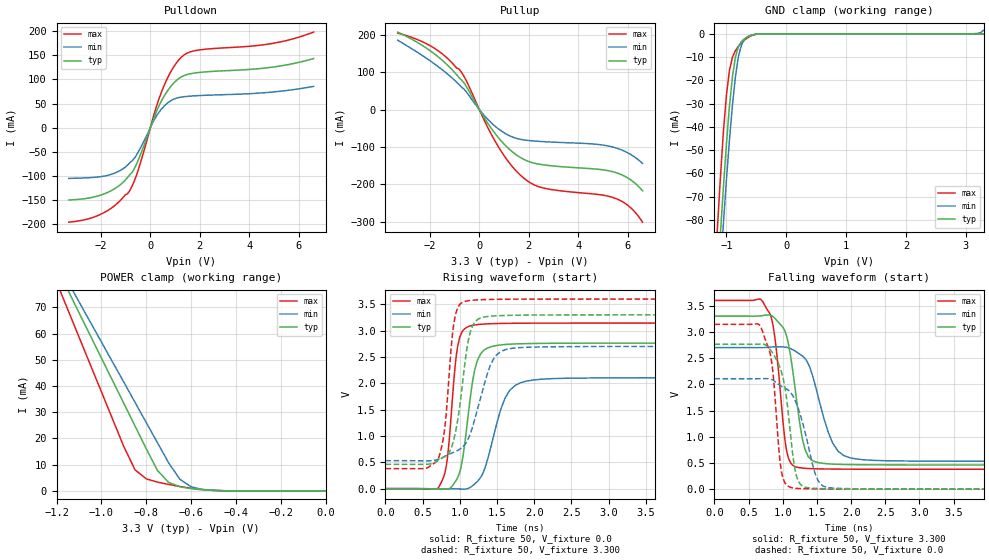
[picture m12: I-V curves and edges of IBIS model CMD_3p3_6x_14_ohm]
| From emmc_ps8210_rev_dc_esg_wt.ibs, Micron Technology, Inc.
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|   Model CMD_3p3_6x_14_ohm
[Model]   CMD_3p3_6x_14_ohm
Model_type   I/O
Vinl   = 1.10V
Vinh   = 1.85V
Vmeas  = 1.65V
|   typ   min   max
C_comp   6.990pF   6.500pF   7.430pF
[Voltage Range]   3.300V   2.700V   3.600V
| Junction Temperature (Ambient temp is 35C typ, 85C min, -25C max)
[Temperature Range]   50.0   100.0   -25.0
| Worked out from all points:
|   slope of the pulldown table from 0 to 0.495 V, typ, clamps not added: 8.27 ohm
|   slope of the pullup table from 0 to 0.495 V, typ, clamps not added: 9.64 ohm
|   GND clamp passes 1 mA (typ) near -0.62 V on its own axis
|   POWER clamp passes 1 mA (typ) near -0.61 V on its own axis
|   rising waveform, R_fixture 50, V_fixture 0.0: 20-80 % time 159ps typ, 254ps min, 115ps max; typ from 0 V to 2.76 V
|   falling waveform, R_fixture 50, V_fixture 3.300: 20-80 % time 189ps typ, 292ps min, 147ps max; typ from 3.3 V to 0.461 V
|   rising waveform, R_fixture 50, V_fixture 3.300: 20-80 % time 169ps typ, 272ps min, 118ps max; typ from 0.461 V to 3.3 V
|   falling waveform, R_fixture 50, V_fixture 0.0: 20-80 % time 172ps typ, 263ps min, 126ps max; typ from 2.76 V to 0 V
[Pulldown]
|   Voltage   I(typ)   I(min)   I(max)
-3.3V     -150.6mA   -105.6mA   -196.7mA
-1.914V   -138.7mA   -101.3mA   -177.9mA
-1.32V    -122.9mA   -91.89mA   -156.8mA
-825mV    -97.64mA   -72.78mA   -130.5mA
-528mV    -72.27mA   -54.16mA   -93.98mA
165mV     23.36mA    17.01mA    30.61mA
462mV     56.83mA    39.39mA    75.67mA
858mV     87.6mA     56.81mA    119.1mA
1.353V    108mA      64.12mA    150.8mA
2.046V    115mA      66.73mA    161.9mA
5.016V    126.3mA    74.32mA    175.7mA
6.6V      143.5mA    85.64mA    198.6mA
[GND_clamp]
|   Voltage   I(typ)   I(min)   I(max)
-3.3V     -1.215A    -1.186A    -1.264A
-1.15V    -106.9mA   -121.7mA   -83.42mA
-1.1V     -85.79mA   -101.1mA   -61.61mA
-1.05V    -65.86mA   -81.43mA   -42.03mA
-1V       -47.53mA   -62.91mA   -26.45mA
-950mV    -31.34mA   -45.93mA   -15.87mA
-900mV    -18.56mA   -30.95mA   -10.14mA
-850mV    -10.08mA   -18.57mA   -7.26mA
-800mV    -5.518mA   -9.883mA   -5.408mA
-750mV    -3.354mA   -4.867mA   -3.954mA
-650mV    -1.397mA   -1.296mA   -1.774mA
3.3V      153.5pA    1.541mA    28.72pA
[Pullup]
|   Voltage   I(typ)   I(min)   I(max)
-3.3V     207.6mA    185.9mA    204.9mA
-1.914V   154.1mA    127.1mA    168.2mA
-825mV    85.83mA    67.55mA    108.8mA
-528mV    62.11mA    47.66mA    77.62mA
165mV     -18.38mA   -13.25mA   -23.99mA
759mV     -74.26mA   -51.13mA   -98.42mA
1.353V    -114.1mA   -73.81mA   -154.2mA
1.848V    -135.1mA   -81.75mA   -186.3mA
2.64V     -148.5mA   -86.05mA   -210.8mA
5.511V    -168.6mA   -102.5mA   -238.1mA
6.105V    -187.5mA   -119.6mA   -262.1mA
6.6V      -217.6mA   -144.3mA   -301.7mA
[POWER_clamp]
|   Voltage   I(typ)   I(min)   I(max)
-3.3V     453.3mA    414.4mA    751.9mA
-1.2V     85.34mA    87.53mA    79.65mA
-1.15V    76.66mA    79.83mA    69.17mA
-1.1V     67.99mA    72.13mA    58.7mA
-900mV    33.36mA    41.43mA    16.88mA
-850mV    24.71mA    33.74mA    7.997mA
-800mV    16.03mA    26.04mA    4.596mA
-750mV    7.762mA    18.34mA    3.354mA
-700mV    3.218mA    10.64mA    2.457mA
-650mV    1.558mA    4.403mA    1.681mA
-600mV    854.9uA    1.541mA    1.032mA
0V        154pA      391.7pA    39.41pA
[Ramp]
|   typ   min   max
dV/dt_r   1.66/158.25p   1.26/253.33p   1.89/115.11p
dV/dt_f   1.70/188.55p   1.30/292.27p   1.93/146.63p
R_load = 50
[Rising Waveform]
R_fixture = 50
V_fixture = 0.0
|   Time   V(typ)   V(min)   V(max)
0s        10.45nV    12.86nV    210.7nV
730ps     -4.673mV   -3.547mV   62.91mV
830ps     -9.767mV   -3.498mV   557.1mV
970ps     208.9mV    -5.028mV   2.702V
1.1ns     1.257V     -1.617mV   3.069V
1.2ns     2.259V     90.57mV    3.108V
1.28ns    2.562V     216.5mV    3.122V
1.6ns     2.737V     1.695V     3.138V
1.81ns    2.751V     2.007V     3.141V
5ns       2.763V     2.106V     3.143V
[Falling Waveform]
R_fixture   = 50
V_fixture   = 3.300
V_fixture_min = 2.700
V_fixture_max = 3.600
|   Time   V(typ)   V(min)   V(max)
0s        3.3V       2.7V       3.6V
810ps     3.32V      2.708V     3.347V
890ps     3.249V     2.716V     2.83V
1.05ns    2.946V     2.707V     778.7mV
1.16ns    2.121V     2.65V      443.1mV
1.28ns    1.006V     2.545V     403.6mV
1.37ns    625.7mV    2.395V     394mV
1.67ns    482.7mV    1.069V     384.3mV
1.89ns    470.6mV    643.3mV    381.9mV
5ns       461.5mV    531.7mV    380mV
[Rising Waveform]
R_fixture   = 50
V_fixture   = 3.300
V_fixture_min = 2.700
V_fixture_max = 3.600
|   Time   V(typ)   V(min)   V(max)
0s        461.4mV    531.5mV    379.9mV
710ps     541.7mV    557.6mV    572mV
800ps     612.2mV    616.4mV    1.187V
920ps     941.8mV    692.1mV    3.143V
1.04ns    2.055V     794.8mV    3.542V
1.11ns    2.789V     940.7mV    3.568V
1.18ns    3.119V     1.22V      3.579V
1.41ns    3.274V     2.344V     3.593V
1.61ns    3.288V     2.639V     3.597V
5ns       3.3V       2.7V       3.6V
[Falling Waveform]
R_fixture = 50
V_fixture = 0.0
|   Time   V(typ)   V(min)   V(max)
0s        2.763V     2.106V     3.143V
680ps     2.766V     2.107V     3.084V
840ps     2.619V     2.09V      2.397V
980ps     2.233V     1.961V     334.2mV
1.09ns    1.334V     1.878V     47.97mV
1.17ns    432.1mV    1.724V     18.93mV
1.22ns    173.2mV    1.562V     13.9mV
1.47ns    15.65mV    308.7mV    4.863mV
1.59ns    9.884mV    59.89mV    3.121mV
5ns       42.29uV    55.23uV    33.33uV
